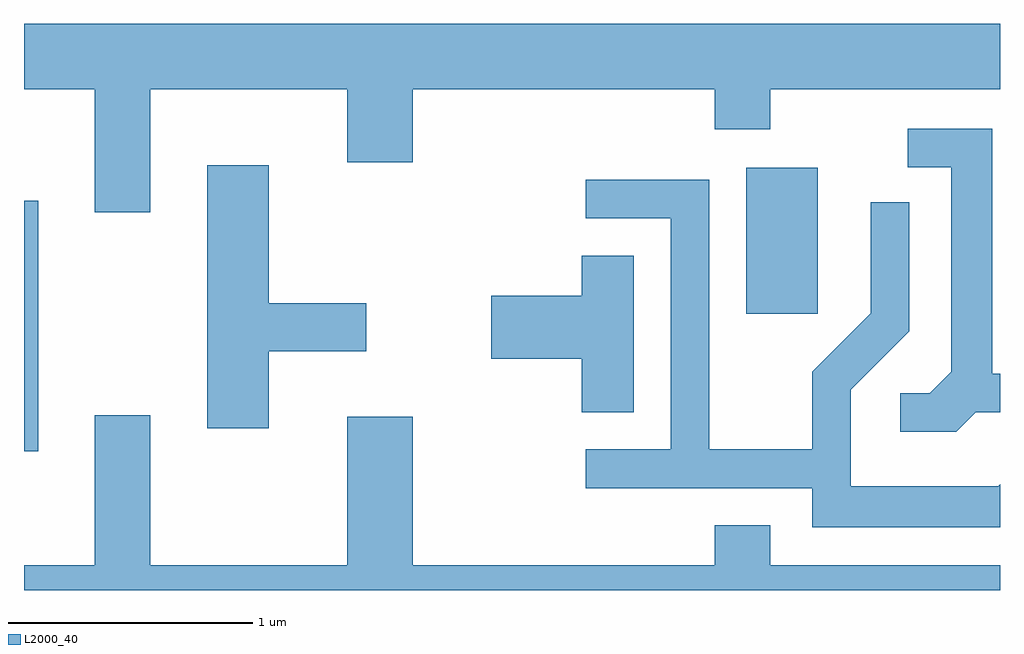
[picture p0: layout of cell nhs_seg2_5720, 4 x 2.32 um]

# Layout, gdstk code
import gdstk
lib = gdstk.Library(unit=1e-6, precision=1e-09)
def R(c, l, rs):  # rectangles x0, y0, x1, y1
    for r in rs: c.add(gdstk.rectangle(r[:2], r[2:], *l))
def P(c, l, *ps):  # polygons
    for p in ps: c.add(gdstk.Polygon(p, *l))
L2000_40 = (2000, 40)

nhs_seg2_5720 = lib.new_cell('nhs_seg2_5720')
R(nhs_seg2_5720, L2000_40, [(353.611,1062.371,353.669,1063.399), (356.571,1062.936,356.864,1063.534)])
P(nhs_seg2_5720, L2000_40, [(354.129,1063.856),(354.936,1063.856),(354.936,1063.556),(355.204,1063.556),(355.204,1063.856),(356.441,1063.856),(356.441,1063.691),(356.669,1063.691),(356.669,1063.856),(357.611,1063.856),(357.611,1064.124),(353.611,1064.124),(353.611,1063.856),(353.901,1063.856),(353.901,1063.351),(354.129,1063.351)],
  [(357.512,1062.531),(357.611,1062.531),(357.611,1062.689),(357.579,1062.689),(357.579,1063.694),(357.233,1063.694),(357.233,1063.536),(357.411,1063.536),(357.411,1062.697),(357.324,1062.609),(357.203,1062.609),(357.203,1062.451),(357.432,1062.451)],
  [(354.614,1062.781),(355.014,1062.781),(355.014,1062.979),(354.614,1062.979),(354.614,1063.544),(354.361,1063.544),(354.361,1062.466),(354.614,1062.466)],
  [(357.611,1062.236),(357.604,1062.229),(356.999,1062.229),(356.999,1062.624),(357.239,1062.864),(357.239,1063.393),(357.081,1063.393),(357.081,1062.937),(356.841,1062.697),(356.841,1062.379),(356.419,1062.379),(356.419,1063.484),(355.913,1063.484),(355.913,1063.326),(356.261,1063.326),(356.261,1062.379),(355.913,1062.379),(355.913,1062.221),(356.841,1062.221),(356.841,1062.061),(357.611,1062.061)],
  [(356.109,1063.174),(355.896,1063.174),(355.896,1063.009),(355.526,1063.009),(355.526,1062.751),(355.896,1062.751),(355.896,1062.531),(356.109,1062.531)],
  [(357.611,1061.904),(356.669,1061.904),(356.669,1062.069),(356.441,1062.069),(356.441,1061.904),(355.204,1061.904),(355.204,1062.514),(354.936,1062.514),(354.936,1061.904),(354.129,1061.904),(354.129,1062.519),(353.901,1062.519),(353.901,1061.904),(353.611,1061.904),(353.611,1061.802),(357.611,1061.802)])

lib.write_gds('nhs_seg2_5720.gds')
